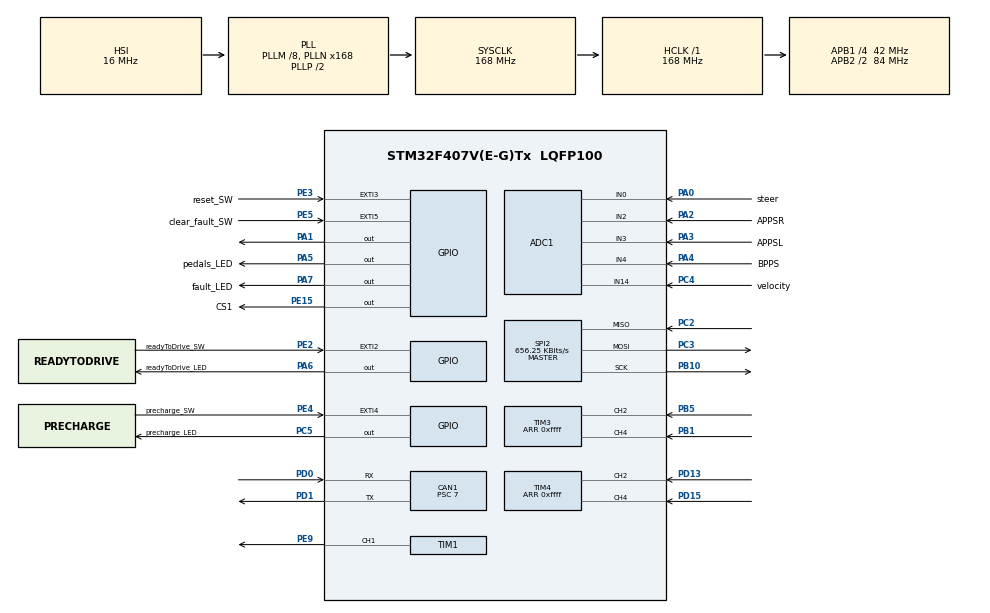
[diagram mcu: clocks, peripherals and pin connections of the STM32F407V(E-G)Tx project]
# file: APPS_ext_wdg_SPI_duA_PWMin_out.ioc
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ADC1.Channel-0\#ChannelRegularConversion=ADC_CHANNEL_2
ADC1.Channel-1\#ChannelRegularConversion=ADC_CHANNEL_3
ADC1.Channel-2\#ChannelRegularConversion=ADC_CHANNEL_4
ADC1.Channel-3\#ChannelRegularConversion=ADC_CHANNEL_0
ADC1.Channel-4\#ChannelRegularConversion=ADC_CHANNEL_14
ADC1.ClockPrescaler=ADC_CLOCK_SYNC_PCLK_DIV8
ADC1.ContinuousConvMode=ENABLE
ADC1.DMAContinuousRequests=ENABLE
ADC1.NbrOfConversion=5
ADC1.NbrOfConversionFlag=1
ADC1.Rank-0\#ChannelRegularConversion=1
ADC1.Rank-1\#ChannelRegularConversion=2
ADC1.Rank-2\#ChannelRegularConversion=3
ADC1.Rank-3\#ChannelRegularConversion=4
ADC1.Rank-4\#ChannelRegularConversion=5
ADC1.SamplingTime-0\#ChannelRegularConversion=ADC_SAMPLETIME_112CYCLES
ADC1.SamplingTime-1\#ChannelRegularConversion=ADC_SAMPLETIME_112CYCLES
ADC1.SamplingTime-2\#ChannelRegularConversion=ADC_SAMPLETIME_112CYCLES
ADC1.SamplingTime-3\#ChannelRegularConversion=ADC_SAMPLETIME_112CYCLES
ADC1.SamplingTime-4\#ChannelRegularConversion=ADC_SAMPLETIME_112CYCLES
ADC1.ScanConvMode=ENABLE
ADC1.master=1
CAN1.BS1=CAN_BS1_5TQ
CAN1.BS2=CAN_BS2_6TQ
CAN1.CalculateBaudRate=500000
CAN1.CalculateTimeBit=1999.99
CAN1.CalculateTimeQuantum=166.66666666666669
CAN1.Prescaler=7
Dma.ADC1.0.Direction=DMA_PERIPH_TO_MEMORY
Dma.ADC1.0.FIFOMode=DMA_FIFOMODE_DISABLE
Dma.ADC1.0.Instance=DMA2_Stream0
Dma.ADC1.0.MemDataAlignment=DMA_MDATAALIGN_HALFWORD
Dma.ADC1.0.MemInc=DMA_MINC_ENABLE
Dma.ADC1.0.Mode=DMA_CIRCULAR
Dma.ADC1.0.PeriphDataAlignment=DMA_PDATAALIGN_HALFWORD
Dma.ADC1.0.PeriphInc=DMA_PINC_DISABLE
Dma.ADC1.0.Priority=DMA_PRIORITY_LOW
Dma.Request0=ADC1
IWDG.Prescaler=IWDG_PRESCALER_32
IWDG.Reload=1000
Mcu.Family=STM32F4
Mcu.Name=STM32F407V(E-G)Tx
Mcu.Package=LQFP100
NVIC.CAN1_RX0_IRQn=true\:3\:0\:true\:true\:true\:5\:true\:true
NVIC.DMA2_Stream0_IRQn=true\:0\:0\:false\:true\:true\:1\:false\:true
NVIC.EXTI2_IRQn=true\:1\:2\:true\:true\:true\:3\:true\:true
NVIC.EXTI3_IRQn=true\:1\:0\:true\:true\:true\:2\:true\:true
NVIC.EXTI4_IRQn=true\:1\:1\:true\:true\:true\:6\:true\:true
NVIC.EXTI9_5_IRQn=true\:3\:0\:true\:true\:true\:7\:true\:true
NVIC.PriorityGroup=NVIC_PRIORITYGROUP_2
NVIC.TIM2_IRQn=true\:2\:0\:true\:true\:true\:4\:true\:true
NVIC.TIM3_IRQn=true\:2\:0\:true\:false\:true\:true\:true
NVIC.TIM4_IRQn=true\:2\:0\:true\:false\:true\:true\:true
PA0-WKUP.GPIO_Label=steer
PA0-WKUP.Signal=ADCx_IN0
PA1.Signal=GPIO_Output
PA2.GPIO_Label=APPSR
PA2.Signal=ADCx_IN2
PA3.GPIO_Label=APPSL
PA3.Signal=ADCx_IN3
PA4.GPIO_Label=BPPS
PA4.Signal=ADCx_IN4
PA5.GPIO_Label=pedals_LED
PA5.Signal=GPIO_Output
PA6.GPIO_Label=readyToDrive_LED
PA6.Signal=GPIO_Output
PA7.GPIO_Label=fault_LED
PA7.Signal=GPIO_Output
PB1.Signal=S_TIM3_CH4
PB10.Mode=Full_Duplex_Master
PB10.Signal=SPI2_SCK
PB5.Signal=S_TIM3_CH2
PC2.Mode=Full_Duplex_Master
PC2.Signal=SPI2_MISO
PC3.Mode=Full_Duplex_Master
PC3.Signal=SPI2_MOSI
PC4.GPIO_Label=velocity
PC4.Signal=ADCx_IN14
PC5.GPIO_Label=precharge_LED
PC5.Signal=GPIO_Output
PD0.Mode=CAN_Activate
PD0.Signal=CAN1_RX
PD1.Mode=CAN_Activate
PD1.Signal=CAN1_TX
PD13.Signal=S_TIM4_CH2
PD15.Signal=S_TIM4_CH4
PE15.GPIO_Label=CS1
PE15.PinState=GPIO_PIN_SET
PE15.Signal=GPIO_Output
PE2.GPIO_Label=readyToDrive_SW
PE2.GPIO_ModeDefaultEXTI=GPIO_MODE_IT_RISING_FALLING
PE2.GPIO_PuPd=GPIO_PULLUP
PE2.Signal=GPXTI2
PE3.GPIO_Label=reset_SW
PE3.GPIO_ModeDefaultEXTI=GPIO_MODE_IT_RISING_FALLING
PE3.GPIO_PuPd=GPIO_PULLUP
PE3.Signal=GPXTI3
PE4.GPIO_Label=precharge_SW
PE4.GPIO_ModeDefaultEXTI=GPIO_MODE_IT_RISING_FALLING
PE4.GPIO_PuPd=GPIO_PULLDOWN
PE4.Signal=GPXTI4
PE5.GPIO_Label=clear_fault_SW
PE5.GPIO_ModeDefaultEXTI=GPIO_MODE_IT_RISING_FALLING
PE5.GPIO_PuPd=GPIO_PULLUP
PE5.Signal=GPXTI5
PE9.Signal=S_TIM1_CH1
PH0-OSC_IN.Mode=HSE-External-Oscillator
PH0-OSC_IN.Signal=RCC_OSC_IN
PH1-OSC_OUT.Mode=HSE-External-Oscillator
PH1-OSC_OUT.Signal=RCC_OSC_OUT
ProjectManager.HeapSize=0x200
ProjectManager.StackSize=0x400
ProjectManager.TargetToolchain=MDK-ARM V5.27
RCC.48MHZClocksFreq_Value=84000000
RCC.AHBFreq_Value=168000000
RCC.APB1CLKDivider=RCC_HCLK_DIV4
RCC.APB1Freq_Value=42000000
RCC.APB1TimFreq_Value=84000000
RCC.APB2CLKDivider=RCC_HCLK_DIV2
RCC.APB2Freq_Value=84000000
RCC.APB2TimFreq_Value=168000000
RCC.CortexFreq_Value=168000000
RCC.HCLKFreq_Value=168000000
RCC.HSE_VALUE=8000000
RCC.HSI_VALUE=16000000
RCC.LSE_VALUE=32768
RCC.PLLM=8
RCC.PLLN=168
RCC.SYSCLKFreq_VALUE=168000000
RCC.SYSCLKSource=RCC_SYSCLKSOURCE_PLLCLK
RCC.VCOOutputFreq_Value=336000000
SH.ADCx_IN0.0=ADC1_IN0,IN0
SH.ADCx_IN14.0=ADC1_IN14,IN14
SH.ADCx_IN2.0=ADC1_IN2,IN2
SH.ADCx_IN3.0=ADC1_IN3,IN3
SH.ADCx_IN4.0=ADC1_IN4,IN4
SH.S_TIM1_CH1.0=TIM1_CH1,PWM Generation1 CH1
SH.S_TIM3_CH2.0=TIM3_CH2,Input_Capture2_from_TI2
SH.S_TIM3_CH2.1=TIM3_CH2,Input_Capture1_from_TI2
SH.S_TIM3_CH2.2=TIM3_CH2,TriggerSource_TI2FP2
SH.S_TIM3_CH4.0=TIM3_CH4,Input_Capture4_from_TI4
SH.S_TIM3_CH4.1=TIM3_CH4,Input_Capture3_from_TI4
SH.S_TIM4_CH2.0=TIM4_CH2,TriggerSource_TI2FP2
SH.S_TIM4_CH2.1=TIM4_CH2,Input_Capture2_from_TI2
SH.S_TIM4_CH2.2=TIM4_CH2,Input_Capture1_from_TI2
SH.S_TIM4_CH4.0=TIM4_CH4,Input_Capture4_from_TI4
SH.S_TIM4_CH4.1=TIM4_CH4,Input_Capture3_from_TI4
SPI2.BaudRatePrescaler=SPI_BAUDRATEPRESCALER_64
SPI2.CLKPhase=SPI_PHASE_2EDGE
SPI2.CLKPolarity=SPI_POLARITY_HIGH
SPI2.CalculateBaudRate=656.25 KBits/s
SPI2.Direction=SPI_DIRECTION_2LINES
SPI2.Mode=SPI_MODE_MASTER
SPI2.VirtualType=VM_MASTER
TIM1.Channel-PWM\ Generation1\ CH1=TIM_CHANNEL_1
TIM1.Period=255-1
TIM1.Prescaler=646-1
TIM2.Period=2
TIM2.Prescaler=42000
TIM2.TIM_MasterOutputTrigger=TIM_TRGO_UPDATE
TIM3.Channel-Input_Capture1_from_TI2=TIM_CHANNEL_1
TIM3.Channel-Input_Capture2_from_TI2=TIM_CHANNEL_2
TIM3.Channel-Input_Capture3_from_TI4=TIM_CHANNEL_3
TIM3.Channel-Input_Capture4_from_TI4=TIM_CHANNEL_4
TIM3.ICPolarity_CH1=TIM_INPUTCHANNELPOLARITY_FALLING
TIM3.ICPolarity_CH3=TIM_INPUTCHANNELPOLARITY_FALLING
TIM3.Period=0xffff
TIM4.Channel-Input_Capture1_from_TI2=TIM_CHANNEL_1
TIM4.Channel-Input_Capture2_from_TI2=TIM_CHANNEL_2
TIM4.Channel-Input_Capture3_from_TI4=TIM_CHANNEL_3
TIM4.Channel-Input_Capture4_from_TI4=TIM_CHANNEL_4
TIM4.ICPolarity_CH1=TIM_INPUTCHANNELPOLARITY_FALLING
TIM4.ICPolarity_CH3=TIM_INPUTCHANNELPOLARITY_FALLING
TIM4.Period=0xffff
VP_IWDG_VS_IWDG.Mode=IWDG_Activate
VP_TIM1_VS_ClockSourceINT.Mode=Internal
VP_TIM2_VS_ClockSourceINT.Mode=Internal
VP_TIM3_VS_ControllerModeReset.Mode=Reset Mode
VP_TIM4_VS_ControllerModeReset.Mode=Reset Mode
board=custom

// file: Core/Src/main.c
/* USER CODE BEGIN Header */
/**
  ******************************************************************************
  * @file           : main.c
  * @brief          : Main program body
  ******************************************************************************
  * @attention
  *
  * <h2><center>&copy; Copyright (c) 2021 STMicroelectronics.
  * All rights reserved.</center></h2>
  *
  * This software component is licensed by ST under BSD 3-Clause license,
  * the "License"; You may not use this file except in compliance with the
  * License. You may obtain a copy of the License at:
  *                        opensource.org/licenses/BSD-3-Clause
  *
  ******************************************************************************
  */
/* USER CODE END Header */
#include "main.h"
#include "adc.h"
#include "can.h"
#include "dma.h"
#include "iwdg.h"
#include "spi.h"
#include "tim.h"
#include "gpio.h"

/* USER CODE BEGIN Includes */
#include <stdbool.h>
#include <math.h>
/* USER CODE END Includes */

/* USER CODE BEGIN PD */
//pedal box parameter setting
#define BrakeAct 800
#define APPSAct 800
#define APPSLeast 200   //for the APPS plausibility check  => motor must shut down until the APPS signals less than 5% peadal travel
#define APPSDIFF 2000

//if out of this range will generate error
#define APPSRUPPEST 4000
#define APPSLUPPEST 4000
#define BPPSUPPEST 4000
#define APPSRLOWEST 0
#define APPSLLOWEST 0
#define BPPSLOWEST 0
#define DISCONNECT 4050
//deine max and offset this parameter offset will slight bigger than the lowest and max will slight smaller than the uppest depends on  the pedal box
//this parameter is used to determine the output torque
#define APPSRMAX 3800
#define APPSLMAX 3800
#define APPSROFFSET 0
#define APPSLOFFSET 0

#define ReadyTime 1000   //ms

//dma scan
#define APPSR adcArr[0]
#define APPSL adcArr[1]
#define BPPS   adcArr[2]
#define APPS (adcArr[0]+adcArr[1])/2

//daul algorithm
#define RAD 180.0/3.14159
#define RAD_REC 3.14159/180.0
#define SPEED (double)adcArr[4]
#define STEER (double)adcArr[5]

#define MASS 300.0
/* USER CODE END PD */

/* USER CODE BEGIN PV */
uint16_t adcArr[5];
static CAN_TxHeaderTypeDef TxMessage_right;
static CAN_TxHeaderTypeDef TxMessage_left;
static CAN_TxHeaderTypeDef TxMessage_R_clear;
static CAN_TxHeaderTypeDef TxMessage_L_clear;
static CAN_RxHeaderTypeDef RxMessage;

//Rx Txdata
uint8_t TxData_R[8]={0};
uint8_t TxData_L[8]={0};
uint8_t TxData_clear[8]={0};
uint32_t TxMailbox;
uint8_t RxData[8]={0};

//address
uint16_t OwnID=0x123;
uint16_t RemoteID =0x0A0;

//sensor
uint32_t accMeter =0;
uint16_t wheelSpeed[4];
uint16_t steerDegree =0;

bool readyButton;
uint8_t errorNumber;
uint16_t torque_right=0;
uint16_t torque_left=0;
uint32_t startTime;
uint32_t duration=0;
bool pedals=0;
bool rtd_io=0;
bool rtd_start=0; //if precharge&&reset&&readyToDrive io are all on this parameter will be true
//bool ready_io=0;
bool precharge_io=0;
bool reset_io=0;
bool clear_fault_io=0;
bool direction=0;

//SPI variable
uint8_t data_rec[6];
int16_t x, y, z;
float xg, yg, zg;
//dual algorithm const
const double Cr=(300*180)/3.14159;
const double Cf=(300*180)/3.14159;
const double Lf=1.503*0.55;
const double Lr=1.503*0.45;
const double Iz=25.0;

//dual algorithm var
double beta_diff_cur=0.0;
double beta_diff_pre=0.0;
double gamma_diff_cur=0.0;
double gamma_diff_pre=0.0;
double beta=0.0;
double gamma=0.0;

double a11_var;
double a12_var;
double a21_var;
double a22_var;
double b11_var;
double b12_var;

double steer_map=0.0;
double speed_map=0.0;

//time
double counter_cur=0;
double counter_pre=0;
double period=0;

//const double mass=300.0;

//PWM input
uint32_t IC_Val1;
uint32_t IC_Val2;

uint32_t Frequency_3;
uint32_t Duty_Cycle_3;

uint32_t Frequency_3_;
uint32_t Duty_Cycle_3_;

uint32_t Frequency_4;
uint32_t Duty_Cycle_4;

uint32_t Frequency_4_;
uint32_t Duty_Cycle_4_;

/* USER CODE END PV */

void SystemClock_Config(void);
static void MX_NVIC_Init(void);
/* USER CODE BEGIN PFP */
//APPS
void driving_mode(void);
void led_blink(void);
void pedals_mode(void);
uint8_t check_safety(void);
uint16_t map(uint16_t value,uint16_t inputL,uint16_t inputH,uint16_t outputL ,uint16_t outputH);
void torque_command(void);
void torque_to_can(void);

//CAN
void CAN_filterConfig(void);
void CAN_Txsetup(void);

//SPI function
void adxl_write(uint8_t address, uint8_t value);
void adxl_read(uint8_t address);
void adxl_init();

//buzzer
void setBuzzer(uint8_t value);

double map_double(double value,double inputL,double inputH,double outputL ,double outputH);
double a11(void);
double a12(void);
double a21(void);
double a22(void);
double b11(void);
double b12(void);
double beta_diff(void);
double gamma_diff(void);
/* USER CODE END PFP */

int main(void)
{

  /* MCU Configuration--------------------------------------------------------*/

  /* Reset of all peripherals, Initializes the Flash interface and the Systick. */
  HAL_Init();

  /* Configure the system clock */
  SystemClock_Config();

  /* Initialize all configured peripherals */
  MX_GPIO_Init();
  MX_DMA_Init();
  MX_ADC1_Init();
  MX_CAN1_Init();
  MX_TIM2_Init();
  MX_IWDG_Init();
  MX_SPI2_Init();
  MX_TIM3_Init();
  MX_TIM4_Init();
  MX_TIM1_Init();

  /* Initialize interrupts */
  MX_NVIC_Init();
  /* USER CODE BEGIN 2 */
	HAL_ADC_Start_DMA(&hadc1,(uint32_t*)adcArr,5);
	HAL_TIM_Base_Start_IT(&htim2);
	CAN_filterConfig();
	CAN_Txsetup();

	precharge_io=HAL_GPIO_ReadPin(precharge_SW_GPIO_Port,precharge_SW_Pin);
	if(precharge_io)
		HAL_GPIO_WritePin(precharge_LED_GPIO_Port,precharge_LED_Pin,GPIO_PIN_SET);
	reset_io=!(HAL_GPIO_ReadPin(reset_SW_GPIO_Port,reset_SW_Pin));

	adxl_init();
	//PWM timer
	HAL_TIM_IC_Start_IT(&htim3, TIM_CHANNEL_1);
	HAL_TIM_IC_Start_IT(&htim3, TIM_CHANNEL_2);
	HAL_TIM_IC_Start_IT(&htim3, TIM_CHANNEL_3);
	HAL_TIM_IC_Start_IT(&htim3, TIM_CHANNEL_4);

	HAL_TIM_IC_Start_IT(&htim4, TIM_CHANNEL_1);
	HAL_TIM_IC_Start_IT(&htim4, TIM_CHANNEL_2);
	HAL_TIM_IC_Start_IT(&htim4, TIM_CHANNEL_3);
	HAL_TIM_IC_Start_IT(&htim4, TIM_CHANNEL_4);

	HAL_TIM_PWM_Start(&htim1, TIM_CHANNEL_1);

  /* USER CODE END 2 */

  /* Infinite loop */
  while (1)
  {

    /* USER CODE BEGIN 3 */
  //waiting for precharge reset_switch, ready to drive to activate the driving mode
		if(rtd_io==0){
				torque_right=0;
				torque_left=0;
				HAL_GPIO_WritePin(readyToDrive_LED_GPIO_Port,readyToDrive_LED_Pin,GPIO_PIN_RESET);
				HAL_GPIO_WritePin(pedals_LED_GPIO_Port,pedals_LED_Pin,GPIO_PIN_RESET);
				duration=0;
				do{
						if(BPPS>=BrakeAct &&  rtd_start==1){
								startTime=HAL_GetTick();
								setBuzzer(50);
								while(duration<ReadyTime &&   rtd_start==1){
										duration = HAL_GetTick()-startTime;
								}
						}else{
							setBuzzer(0);
						}
				}while(duration<ReadyTime);
				 rtd_io=1;
				 setBuzzer(100);
				 HAL_Delay(100);
				 setBuzzer(0);
				 HAL_Delay(100);
				 setBuzzer(100);
				 HAL_Delay(100);
				 setBuzzer(0);
			}
			//driving stage
			if(rtd_io==1){
					HAL_GPIO_WritePin(fault_LED_GPIO_Port,fault_LED_Pin,GPIO_PIN_RESET);
					HAL_GPIO_WritePin(readyToDrive_LED_GPIO_Port,readyToDrive_LED_Pin,GPIO_PIN_SET);

				  //entering drive mode
					driving_mode();

			}
  }
  /* USER CODE END 3 */
}

void SystemClock_Config(void)
{
  RCC_OscInitTypeDef RCC_OscInitStruct = {0};
  RCC_ClkInitTypeDef RCC_ClkInitStruct = {0};

  /** Configure the main internal regulator output voltage
  */
  __HAL_RCC_PWR_CLK_ENABLE();
  __HAL_PWR_VOLTAGESCALING_CONFIG(PWR_REGULATOR_VOLTAGE_SCALE1);
  /** Initializes the RCC Oscillators according to the specified parameters
  * in the RCC_OscInitTypeDef structure.
  */
  RCC_OscInitStruct.OscillatorType = RCC_OSCILLATORTYPE_HSI|RCC_OSCILLATORTYPE_LSI;
  RCC_OscInitStruct.HSIState = RCC_HSI_ON;
  RCC_OscInitStruct.HSICalibrationValue = RCC_HSICALIBRATION_DEFAULT;
  RCC_OscInitStruct.LSIState = RCC_LSI_ON;
  RCC_OscInitStruct.PLL.PLLState = RCC_PLL_ON;
  RCC_OscInitStruct.PLL.PLLSource = RCC_PLLSOURCE_HSI;
  RCC_OscInitStruct.PLL.PLLM = 8;
  RCC_OscInitStruct.PLL.PLLN = 168;
  RCC_OscInitStruct.PLL.PLLP = RCC_PLLP_DIV2;
  RCC_OscInitStruct.PLL.PLLQ = 4;
  if (HAL_RCC_OscConfig(&RCC_OscInitStruct) != HAL_OK)
  {
    Error_Handler();
  }
  /** Initializes the CPU, AHB and APB buses clocks
  */
  RCC_ClkInitStruct.ClockType = RCC_CLOCKTYPE_HCLK|RCC_CLOCKTYPE_SYSCLK
                              |RCC_CLOCKTYPE_PCLK1|RCC_CLOCKTYPE_PCLK2;
  RCC_ClkInitStruct.SYSCLKSource = RCC_SYSCLKSOURCE_PLLCLK;
  RCC_ClkInitStruct.AHBCLKDivider = RCC_SYSCLK_DIV1;
  RCC_ClkInitStruct.APB1CLKDivider = RCC_HCLK_DIV4;
  RCC_ClkInitStruct.APB2CLKDivider = RCC_HCLK_DIV2;

  if (HAL_RCC_ClockConfig(&RCC_ClkInitStruct, FLASH_LATENCY_5) != HAL_OK)
  {
    Error_Handler();
  }
}

/**
  * @brief NVIC Configuration.
  * @retval None
  */
static void MX_NVIC_Init(void)
{
  /* DMA2_Stream0_IRQn interrupt configuration */
  HAL_NVIC_SetPriority(DMA2_Stream0_IRQn, 0, 0);
  HAL_NVIC_EnableIRQ(DMA2_Stream0_IRQn);
  /* EXTI3_IRQn interrupt configuration */
  HAL_NVIC_SetPriority(EXTI3_IRQn, 1, 0);
  HAL_NVIC_EnableIRQ(EXTI3_IRQn);
  /* EXTI2_IRQn interrupt configuration */
  HAL_NVIC_SetPriority(EXTI2_IRQn, 1, 2);
  HAL_NVIC_EnableIRQ(EXTI2_IRQn);
  /* TIM2_IRQn interrupt configuration */
  HAL_NVIC_SetPriority(TIM2_IRQn, 2, 0);
  HAL_NVIC_EnableIRQ(TIM2_IRQn);
  /* CAN1_RX0_IRQn interrupt configuration */
  HAL_NVIC_SetPriority(CAN1_RX0_IRQn, 3, 0);
  HAL_NVIC_EnableIRQ(CAN1_RX0_IRQn);
  /* EXTI4_IRQn interrupt configuration */
  HAL_NVIC_SetPriority(EXTI4_IRQn, 1, 1);
  HAL_NVIC_EnableIRQ(EXTI4_IRQn);
  /* EXTI9_5_IRQn interrupt configuration */
  HAL_NVIC_SetPriority(EXTI9_5_IRQn, 3, 0);
  HAL_NVIC_EnableIRQ(EXTI9_5_IRQn);
}

/* USER CODE BEGIN 4 */
void HAL_TIM_PeriodElapsedCallback(TIM_HandleTypeDef *htim)
{
  /* Prevent unused argument(s) compilation warning */
  UNUSED(htim);

  /* NOTE : This function should not be modified, when the callback is needed,
            the HAL_TIM_PeriodElapsedCallback could be implemented in the user file
   */
	a11_var=a11();
	a12_var=a12();
	a21_var=a21();
	a22_var=a22();
	b11_var=b11();
	b12_var=b12();
	//speed_map=1;
	//steer_map=0.0872664626;
	speed_map=map_double((double)adcArr[4],0.0,4095.0,-20.0,20.0);
	steer_map=map_double((double)adcArr[3],0.0,4095.0,-30*RAD_REC,30*RAD_REC);
	beta_diff_cur=beta_diff();
	gamma_diff_cur = gamma_diff();
	counter_cur=HAL_GetTick();
	period = counter_cur-counter_pre;
	beta+=period*beta_diff()/1000;
	gamma+=period*gamma_diff()/1000;
	counter_pre=counter_cur;

	adxl_read(0x32);
	x = ((data_rec[1] << 8) | data_rec[0]);
	y = ((data_rec[3] << 8) | data_rec[2]);
	z = ((data_rec[5] << 8) | data_rec[4]);

	xg = x * 0.0078;
	yg = y * 0.0078;
	zg = z * 0.0078;

	if(clear_fault_io){
		HAL_CAN_AddTxMessage(&hcan1,&TxMessage_R_clear,TxData_clear,&TxMailbox);
		HAL_CAN_AddTxMessage(&hcan1,&TxMessage_L_clear,TxData_clear,&TxMailbox);
		clear_fault_io=0;
	}
	torque_to_can();
	HAL_CAN_AddTxMessage(&hcan1,&TxMessage_right,TxData_R,&TxMailbox);
	HAL_CAN_AddTxMessage(&hcan1,&TxMessage_left ,TxData_L,&TxMailbox);
	HAL_IWDG_Refresh(&hiwdg);
	HAL_GPIO_TogglePin(GPIOA,GPIO_PIN_1);

}

void CAN_filterConfig(void){
	CAN_FilterTypeDef filterConfig;

	filterConfig.FilterBank=0;
	filterConfig.FilterActivation=ENABLE;
	filterConfig.FilterFIFOAssignment=CAN_RX_FIFO0;
	filterConfig.FilterIdHigh=0x0000;
	filterConfig.FilterIdLow=0x0000;
	filterConfig.FilterMaskIdHigh=0x0000;
	filterConfig.FilterMaskIdLow=0x0000;
	filterConfig.FilterMode=CAN_FILTERMODE_IDMASK;
	filterConfig.FilterScale= CAN_FILTERSCALE_32BIT;
	filterConfig.SlaveStartFilterBank=14;

	if(HAL_CAN_ConfigFilter(&hcan1,&filterConfig)!=HAL_OK){
		Error_Handler();
	}

	if(HAL_CAN_ActivateNotification(&hcan1,CAN_IT_RX_FIFO0_MSG_PENDING)!=HAL_OK){
		Error_Handler();
	}		//enable interrupt

}
void CAN_Txsetup(){
		if(HAL_CAN_Start(&hcan1)!=HAL_OK){
		Error_Handler();
		}

		TxMessage_right.StdId=0x0C0;
		TxMessage_right.ExtId=0x01;
		TxMessage_right.RTR=CAN_RTR_DATA;
		TxMessage_right.IDE=CAN_ID_STD;
		TxMessage_right.DLC=8;
		TxMessage_right.TransmitGlobalTime=DISABLE;   //time trigger must be turned ON

		TxMessage_left.StdId=0x0F0;
		TxMessage_left.ExtId=0x01;
		TxMessage_left.RTR=CAN_RTR_DATA;
		TxMessage_left.IDE=CAN_ID_STD;
		TxMessage_left.DLC=8;
		TxMessage_left.TransmitGlobalTime=DISABLE;   //time trigger must be turned ON

		TxData_R[0]=0;
		TxData_R[1]=0;
		TxData_R[2]=0;
		TxData_R[3]=0;
		TxData_R[4]=direction;
		TxData_R[5]=0;
		TxData_R[6]=0;
		TxData_R[7]=0;

		TxData_L[0]=0;
		TxData_L[1]=0;
		TxData_L[2]=0;
		TxData_L[3]=0;
		TxData_L[4]=!direction;
		TxData_L[5]=0;
		TxData_L[6]=0;
		TxData_L[7]=0;

		TxMessage_R_clear.StdId=0x0C1;
		TxMessage_R_clear.ExtId=0x01;
		TxMessage_R_clear.RTR=CAN_RTR_DATA;
		TxMessage_R_clear.IDE=CAN_ID_STD;
		TxMessage_R_clear.DLC=8;
		TxMessage_R_clear.TransmitGlobalTime=DISABLE;

		TxMessage_L_clear.StdId=0x0F1;
		TxMessage_L_clear.ExtId=0x01;
		TxMessage_L_clear.RTR=CAN_RTR_DATA;
		TxMessage_L_clear.IDE=CAN_ID_STD;
		TxMessage_L_clear.DLC=8;
		TxMessage_L_clear.TransmitGlobalTime=DISABLE;

		TxData_clear[0]=0;
		TxData_clear[1]=0;
		TxData_clear[2]=1;
		TxData_clear[3]=0;
		TxData_clear[4]=0;
		TxData_clear[5]=0;
		TxData_clear[6]=0;
		TxData_clear[7]=0;

}

void HAL_CAN_RxFifo0MsgPendingCallback(CAN_HandleTypeDef *hcan){
	if(HAL_CAN_GetRxMessage(hcan,CAN_RX_FIFO0,&RxMessage,RxData)!=HAL_OK){
		Error_Handler();
	}
}

void driving_mode(void){
  errorNumber= check_safety();
	switch(errorNumber){
		case 1:{
			//wiring disconnection
			HAL_GPIO_WritePin(fault_LED_GPIO_Port,fault_LED_Pin,GPIO_PIN_SET);
			torque_right=0;
			torque_left=0;
			rtd_io=0;
			break;
		}
		case 2:{
			//apps throttle differ over
			HAL_GPIO_WritePin(fault_LED_GPIO_Port,fault_LED_Pin,GPIO_PIN_SET);
			torque_right=0;
			torque_left=0;
			rtd_io=0;
			break;
		}
		case 3:{
			//bpps || apps out of range
			HAL_GPIO_WritePin(fault_LED_GPIO_Port,fault_LED_Pin,GPIO_PIN_SET);
			torque_right=0;
			torque_left=0;
			rtd_io=0;
			break;
		}
		case 4:{
			//pedals =>enter pedals mode
			HAL_GPIO_WritePin(pedals_LED_GPIO_Port,pedals_LED_Pin,GPIO_PIN_SET);
			torque_right=0;
			torque_left=0;
			pedals=1;
			break;
		}
		case 5:{
			//brake acting
			torque_right=0;
			torque_left=0;
			break;
		}
		case 0:{
			//accelaration mode
			torque_command();
			break;
		}

	}
	if(pedals==1){
		if(APPS<APPSLeast){
			pedals=0;
			HAL_GPIO_WritePin(pedals_LED_GPIO_Port,pedals_LED_Pin,GPIO_PIN_RESET);
		}
	}
}
uint8_t check_safety(void){
		//detect disconnect
		if(APPSR>DISCONNECT || APPSL>DISCONNECT || BPPS>DISCONNECT){
			return 1;
		}
		//apps difference over APPS different  limit
		else if( __fabs (APPSR-APPSL)> APPSDIFF){
			return 2;
		}
		//check if sensor in the correct zone
		//BPPS 0~100 APPS 0~200
		else if(APPSR>APPSRUPPEST || APPSL>APPSLUPPEST || BPPS>BPPSUPPEST||APPSR<APPSRLOWEST || APPSL<APPSLLOWEST ||BPPS<BPPSLOWEST){
			return 3;
		}
		//braking >20
		else if(BPPS>BrakeAct){
			if(APPS>APPSAct){
				 pedals=1;
				return 4;	 //braking with pedal not safe
			}
			return 5;   //braking safely
		}
		return 0;   //accelaration mode
}

uint16_t map(uint16_t value, uint16_t inputL,uint16_t inputH,uint16_t outputL ,uint16_t outputH){

	uint16_t returnVal=(value-inputL)*(outputH-outputL)/(inputH-inputL)+outputL;
	if(returnVal>outputH){
		return outputH;
	}else {
		return returnVal;
	}
}

void torque_command(void){

		torque_right=map(APPS,(APPSROFFSET+APPSLOFFSET)/2,(APPSRMAX+APPSLMAX)/2,0,1400);
		torque_left= map(APPS,(APPSROFFSET+APPSLOFFSET)/2,(APPSRMAX+APPSLMAX)/2,0,1400);
}

void torque_to_can(void){
	/*01 torque command (torque = ([0]+[1]*256)/10)
  23 speed command (angular speed = [2]+[3]*256
  4   Direction (0:reverse 1:forwards rd).  *further note: if the direction command is changed suddenly when the inverter is still enable, inverter is disable without triggering any fault
  And the Lockout mechanism is set again which will force the user to re-enable it
  5   5.0 inverter enable (0:off 1:ON)
       5.1 inverter discharge (0 disable 1 enable)
       5.2 speed mode
  67  commanded torque limit (0 default)
  this message should be continuously broadcast at least 500 milliseconds
	*/
	if(rtd_io==0){
		TxData_R[0]=0;
		TxData_R[1]=0;
		TxData_R[5]=0;

		TxData_L[0]=0;
		TxData_L[1]=0;
		TxData_L[5]=0;
	}else{
		TxData_R[0]=(torque_right%256);
		TxData_R[1]=(torque_right/256);
		TxData_R[5]=1;

		TxData_L[0]=(torque_left%256);
		TxData_L[1]=(torque_left/256);
		TxData_L[5]=1;
	}

}
void adxl_write(uint8_t address, uint8_t value)
{
	uint8_t data[2];
	data[0] = address|0x40;	//Multibyte write enabled
	data[1] = value;
	HAL_GPIO_WritePin(CS1_GPIO_Port, CS1_Pin, GPIO_PIN_RESET);	//Pull CS pin low to enable transmission
	HAL_SPI_Transmit(&hspi2, data, 2, 100);	//Transmit address and data
	HAL_GPIO_WritePin(CS1_GPIO_Port, CS1_Pin, GPIO_PIN_SET);	//Pull CS pin high  to close transmission
}

void adxl_read(uint8_t address)
{
	address |= 0x80;	//read operation
	address |= 0x40;	//multibyte read
	HAL_GPIO_WritePin(CS1_GPIO_Port, CS1_Pin, GPIO_PIN_RESET);
	HAL_SPI_Transmit(&hspi2, &address, 1, 100);	//**
	HAL_SPI_Receive(&hspi2, data_rec, 6, 100);
	HAL_GPIO_WritePin(CS1_GPIO_Port, CS1_Pin, GPIO_PIN_SET);
}

void adxl_init()
{
	adxl_write(0x31, 0x01);
	adxl_write(0x2d, 0x00);
	adxl_write(0x2d, 0x08);
}

double map_double(double value, double inputL,double inputH,double outputL ,double outputH){

	double returnVal=(value-inputL)*(outputH-outputL)/(inputH-inputL)+outputL;
	if(returnVal>outputH){
		return outputH;
	}else {
		return returnVal;
	}
}

double a11(void){
	return -2*(Cr+Cf)/(MASS*speed_map);
}

double a12(void){
	return -1-2*(Lf*Cf-Lr*Cr)/(MASS*speed_map*speed_map);
}

double a21(void){
	return -2*(Lf*Cf-Lr*Cr)/Iz;
}

double a22(void){
	return -2*(Lf*Lf*Cf+Lr*Lr*Cr)/(Iz*speed_map);
}

double b11(void){
	return 2*Cf/(MASS*speed_map);
}

double b12(void){
	return 2*Lf*Cf/Iz;
}

double beta_diff(void){
	return a11()*beta+a12()*gamma+b11()*steer_map;
}

double gamma_diff(void){
	return a21()*beta+a22()*gamma+b12()*steer_map;
}

void HAL_TIM_IC_CaptureCallback(TIM_HandleTypeDef *htim)
{
  /* Prevent unused argument(s) compilation warning */
  UNUSED(htim);

  /* NOTE : This function should not be modified, when the callback is needed,
            the HAL_TIM_IC_CaptureCallback could be implemented in the user file
   */

	//Timer 3 PWM interrupt
	if(htim->Instance == TIM3){
      if(htim -> Channel == HAL_TIM_ACTIVE_CHANNEL_2) {
	 //Read Captured Value
	 //First Value - time period of the pulse
	 IC_Val1 = HAL_TIM_ReadCapturedValue(htim, TIM_CHANNEL_2);

	 if(IC_Val1 != 0)
	 {
		 //Second Vlaue - time for the pulse remain high
		 IC_Val2 = HAL_TIM_ReadCapturedValue(htim, TIM_CHANNEL_1);

		 //Calculate Duty Cycle - set to integer = IC_Val2_2 / IC_Val1_2 * 100
		 Duty_Cycle_3 = IC_Val2 * 100 / IC_Val1;

		 //Calculated Frequency - Timer Clock / IC_Val1_2, which timerclock = 2 * pclk1
		 Frequency_3 = 2 * HAL_RCC_GetPCLK1Freq() / IC_Val1;
	 }
	  else
		{
			Duty_Cycle_3 = 0;
			Frequency_3 = 0;
		}
	 }

	 if(htim -> Channel == HAL_TIM_ACTIVE_CHANNEL_4) {
	 //Read Captured Value
	 //First Value - time period of the pulse

	 IC_Val1 = HAL_TIM_ReadCapturedValue(htim, TIM_CHANNEL_4);

	 if(IC_Val1 != 0)
	 {
		 //Second Vlaue - time for the pulse remain high
		 IC_Val2 = HAL_TIM_ReadCapturedValue(htim, TIM_CHANNEL_3);

		 //Calculate Duty Cycle - set to integer = IC_Val2_2 / IC_Val1_2 * 100
		 Duty_Cycle_3_ = IC_Val2 * 100 / IC_Val1;

		 //Calculated Frequency - Timer Clock / IC_Val1_2, which timerclock = 2 * pclk1
		 Frequency_3_ = 2 * HAL_RCC_GetPCLK1Freq() / IC_Val1;
	 }
	  else
		{
			Duty_Cycle_3_ = 0;
			Frequency_3_ = 0;
		}
	 }
	}

	//Timer 4 PWM interrupt
	if(htim->Instance == TIM4){
      if(htim -> Channel == HAL_TIM_ACTIVE_CHANNEL_2) {
	 //Read Captured Value
	 //First Value - time period of the pulse
	 IC_Val1 = HAL_TIM_ReadCapturedValue(htim, TIM_CHANNEL_2);

	 if(IC_Val1 != 0)
	 {
		 //Second Vlaue - time for the pulse remain high
		 IC_Val2 = HAL_TIM_ReadCapturedValue(htim, TIM_CHANNEL_1);

		 //Calculate Duty Cycle - set to integer = IC_Val2_2 / IC_Val1_2 * 100
		 Duty_Cycle_4 = IC_Val2 * 100 / IC_Val1;

		 //Calculated Frequency - Timer Clock / IC_Val1_2, which timerclock = 2 * pclk1
		 Frequency_4 = 2 * HAL_RCC_GetPCLK1Freq() / IC_Val1;
	 }
	  else
		{
			Duty_Cycle_4 = 0;
			Frequency_4 = 0;
		}
	 }

	 if(htim -> Channel == HAL_TIM_ACTIVE_CHANNEL_4) {
	 //Read Captured Value
	 //First Value - time period of the pulse

	 IC_Val1 = HAL_TIM_ReadCapturedValue(htim, TIM_CHANNEL_4);

	 if(IC_Val1 != 0)
	 {
		 //Second Vlaue - time for the pulse remain high
		 IC_Val2 = HAL_TIM_ReadCapturedValue(htim, TIM_CHANNEL_3);

		 //Calculate Duty Cycle - set to integer = IC_Val2_2 / IC_Val1_2 * 100
		 Duty_Cycle_4_ = IC_Val2 * 100 / IC_Val1;

		 //Calculated Frequency - Timer Clock / IC_Val1_2, which timerclock = 2 * pclk1
		 Frequency_4_ = 2 * HAL_RCC_GetPCLK1Freq() / IC_Val1;
	 }
	  else
		{
			Duty_Cycle_4_ = 0;
			Frequency_4_ = 0;
		}
	 }
	}
}

void setBuzzer(uint8_t value){
	TIM1 -> CCR1 = value;
}

/* USER CODE END 4 */

void Error_Handler(void)
{
  __disable_irq();
  while (1)
  {
  }
}

/************************ (C) COPYRIGHT STMicroelectronics *****END OF FILE****/
